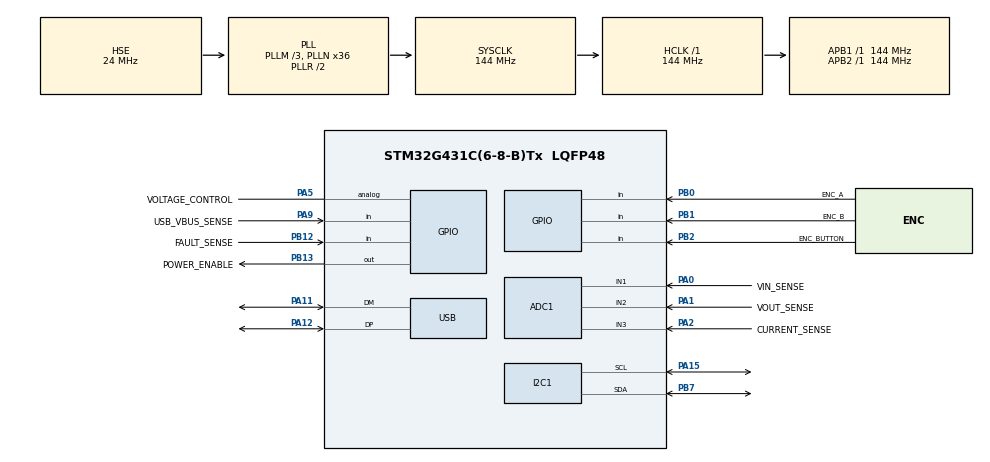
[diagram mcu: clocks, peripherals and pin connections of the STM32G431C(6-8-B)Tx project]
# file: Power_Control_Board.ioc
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ADC1.Channel-0\#ChannelRegularConversion=ADC_CHANNEL_1
ADC1.ClockPrescaler=ADC_CLOCK_ASYNC_DIV4
ADC1.NbrOfConversionFlag=1
ADC1.OffsetNumber-0\#ChannelRegularConversion=ADC_OFFSET_NONE
ADC1.Rank-0\#ChannelRegularConversion=1
ADC1.SamplingTime-0\#ChannelRegularConversion=ADC_SAMPLETIME_640CYCLES_5
ADC1.master=1
I2C1.Timing=0x60715075
Mcu.Family=STM32G4
Mcu.Name=STM32G431C(6-8-B)Tx
Mcu.Package=LQFP48
NVIC.PriorityGroup=NVIC_PRIORITYGROUP_4
NVIC.USB_LP_IRQn=true\:0\:0\:false\:false\:true\:false\:true\:true
PA0.GPIO_Label=VIN_SENSE
PA0.Mode=IN1-Single-Ended
PA0.Signal=ADC1_IN1
PA1.GPIO_Label=VOUT_SENSE
PA1.Mode=IN2-Single-Ended
PA1.Signal=ADC1_IN2
PA11.Mode=Device
PA11.Signal=USB_DM
PA12.Mode=Device
PA12.Signal=USB_DP
PA13.Mode=Serial_Wire
PA13.Signal=SYS_JTMS-SWDIO
PA14.Mode=Serial_Wire
PA14.Signal=SYS_JTCK-SWCLK
PA15.Mode=I2C
PA15.Signal=I2C1_SCL
PA2.GPIO_Label=CURRENT_SENSE
PA2.Mode=IN3-Single-Ended
PA2.Signal=ADC1_IN3
PA5.GPIO_Label=VOLTAGE_CONTROL
PA5.Signal=GPIO_Analog
PA9.GPIO_Label=USB_VBUS_SENSE
PA9.Signal=GPIO_Input
PB0.GPIO_Label=ENC_A
PB0.Signal=GPIO_Input
PB1.GPIO_Label=ENC_B
PB1.Signal=GPIO_Input
PB12.GPIO_Label=FAULT_SENSE
PB12.Signal=GPIO_Input
PB13.GPIO_Label=POWER_ENABLE
PB13.Signal=GPIO_Output
PB2.GPIO_Label=ENC_BUTTON
PB2.Signal=GPIO_Input
PB7.Mode=I2C
PB7.Signal=I2C1_SDA
PF0-OSC_IN.Mode=HSE-External-Oscillator
PF0-OSC_IN.Signal=RCC_OSC_IN
PF1-OSC_OUT.Mode=HSE-External-Oscillator
PF1-OSC_OUT.Signal=RCC_OSC_OUT
ProjectManager.HeapSize=0x200
ProjectManager.StackSize=0x400
ProjectManager.TargetToolchain=CMake
RCC.ADC12Freq_Value=144000000
RCC.AHBFreq_Value=144000000
RCC.APB1Freq_Value=144000000
RCC.APB1TimFreq_Value=144000000
RCC.APB2Freq_Value=144000000
RCC.APB2TimFreq_Value=144000000
RCC.CortexFreq_Value=144000000
RCC.EXTERNAL_CLOCK_VALUE=12288000
RCC.HCLKFreq_Value=144000000
RCC.HSE_VALUE=24000000
RCC.HSI48_VALUE=48000000
RCC.HSI_VALUE=16000000
RCC.LSE_VALUE=32768
RCC.PLLM=RCC_PLLM_DIV3
RCC.PLLN=36
RCC.PLLQ=RCC_PLLQ_DIV6
RCC.PLLSourceVirtual=RCC_PLLSOURCE_HSE
RCC.SYSCLKFreq_VALUE=144000000
RCC.SYSCLKSource=RCC_SYSCLKSOURCE_PLLCLK
RCC.USBFreq_Value=48000000
RCC.VCOOutputFreq_Value=288000000
USB_DEVICE.CLASS_NAME_FS=CDC
USB_DEVICE.USBD_LPM_ENABLED=0
USB_DEVICE.USBD_SELF_POWERED=0
USB_DEVICE.VirtualMode=Cdc
USB_DEVICE.VirtualModeFS=Cdc_FS
VP_ADC1_Vref_Input.Mode=IN-Vrefint
VP_SYS_VS_DBSignals.Mode=DisableDeadBatterySignals
VP_USB_DEVICE_VS_USB_DEVICE_CDC_FS.Mode=CDC_FS
board=custom

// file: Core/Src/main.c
/* USER CODE BEGIN Header */
/**
  ******************************************************************************
  * @file           : main.c
  * @brief          : Main program body
  ******************************************************************************
  * @attention
  *
  * Copyright (c) 2026 STMicroelectronics.
  * All rights reserved.
  *
  * This software is licensed under terms that can be found in the LICENSE file
  * in the root directory of this software component.
  * If no LICENSE file comes with this software, it is provided AS-IS.
  *
  ******************************************************************************
  */
/* USER CODE END Header */
#include "main.h"
#include "adc.h"
#include "i2c.h"
#include "usb_device.h"
#include "gpio.h"

/* USER CODE BEGIN Includes */
#include "oled.h"
#include "measurements.h"
#include "telemetry.h"
#include <stdio.h>
/* USER CODE END Includes */

/* USER CODE BEGIN PV */
static Measurements measurements;
static uint32_t last_display_ms = 0;

/* USER CODE END PV */

void SystemClock_Config(void);

int main(void)
{

  /* MCU Configuration--------------------------------------------------------*/

  /* Reset of all peripherals, Initializes the Flash interface and the Systick. */
  HAL_Init();

  /* Configure the system clock */
  SystemClock_Config();

  /* Initialize all configured peripherals */
  MX_GPIO_Init();
  MX_ADC1_Init();
  MX_I2C1_Init();
  MX_USB_Device_Init();
  /* USER CODE BEGIN 2 */
  HAL_Delay(30);  // Allow the OLED to power up

  OLED_Init();
  OLED_NewFrame();

  if (!Measurements_Init()) {
    Error_Handler();
  }

  OLED_PrintASCIIString(
      0, 0,
      "Power Controller",
      &afont8x6,
      OLED_COLOR_NORMAL
  );

  OLED_PrintASCIIString(
      0, 16,
      "Starting...",
      &afont8x6,
      OLED_COLOR_NORMAL
  );

  OLED_ShowFrame();

  /* USER CODE END 2 */

  /* Infinite loop */
  while (1)
  {

    /* USER CODE BEGIN 3 */
    uint32_t now = HAL_GetTick();

    if ((uint32_t)(now - last_display_ms) >= 250U) {
      last_display_ms = now;

      bool valid = Measurements_Read(&measurements);

      if (valid) {
        (void)Telemetry_Send(now, &measurements);
      }

      char line[32];

      OLED_NewFrame();

      OLED_PrintASCIIString(
          0, 0, "Power Controller",
          &afont8x6, OLED_COLOR_NORMAL
      );

      if (valid) {
        snprintf(line, sizeof(line), "Vin : %lu.%03lu V",
                 (unsigned long)(measurements.vin_mv / 1000U),
                 (unsigned long)(measurements.vin_mv % 1000U));

        OLED_PrintASCIIString(
            0, 16, line, &afont8x6, OLED_COLOR_NORMAL
        );

        snprintf(line, sizeof(line), "Vout: %lu.%03lu V",
                 (unsigned long)(measurements.vout_mv / 1000U),
                 (unsigned long)(measurements.vout_mv % 1000U));

        OLED_PrintASCIIString(
            0, 32, line, &afont8x6, OLED_COLOR_NORMAL
        );

        snprintf(line, sizeof(line), "Iout: %lu.%03lu A",
                 (unsigned long)(measurements.current_ma / 1000U),
                 (unsigned long)(measurements.current_ma % 1000U));

        OLED_PrintASCIIString(
            0, 48, line, &afont8x6, OLED_COLOR_NORMAL
        );
      } else {
        OLED_PrintASCIIString(
            0, 24, "ADC read error",
            &afont8x6, OLED_COLOR_NORMAL
        );
      }

      OLED_ShowFrame();
    }
  }
  /* USER CODE END 3 */
}

void SystemClock_Config(void)
{
  RCC_OscInitTypeDef RCC_OscInitStruct = {0};
  RCC_ClkInitTypeDef RCC_ClkInitStruct = {0};

  /** Configure the main internal regulator output voltage
  */
  HAL_PWREx_ControlVoltageScaling(PWR_REGULATOR_VOLTAGE_SCALE1);

  /** Initializes the RCC Oscillators according to the specified parameters
  * in the RCC_OscInitTypeDef structure.
  */
  RCC_OscInitStruct.OscillatorType = RCC_OSCILLATORTYPE_HSE;
  RCC_OscInitStruct.HSEState = RCC_HSE_ON;
  RCC_OscInitStruct.PLL.PLLState = RCC_PLL_ON;
  RCC_OscInitStruct.PLL.PLLSource = RCC_PLLSOURCE_HSE;
  RCC_OscInitStruct.PLL.PLLM = RCC_PLLM_DIV3;
  RCC_OscInitStruct.PLL.PLLN = 36;
  RCC_OscInitStruct.PLL.PLLP = RCC_PLLP_DIV2;
  RCC_OscInitStruct.PLL.PLLQ = RCC_PLLQ_DIV6;
  RCC_OscInitStruct.PLL.PLLR = RCC_PLLR_DIV2;
  if (HAL_RCC_OscConfig(&RCC_OscInitStruct) != HAL_OK)
  {
    Error_Handler();
  }

  /** Initializes the CPU, AHB and APB buses clocks
  */
  RCC_ClkInitStruct.ClockType = RCC_CLOCKTYPE_HCLK|RCC_CLOCKTYPE_SYSCLK
                              |RCC_CLOCKTYPE_PCLK1|RCC_CLOCKTYPE_PCLK2;
  RCC_ClkInitStruct.SYSCLKSource = RCC_SYSCLKSOURCE_PLLCLK;
  RCC_ClkInitStruct.AHBCLKDivider = RCC_SYSCLK_DIV1;
  RCC_ClkInitStruct.APB1CLKDivider = RCC_HCLK_DIV1;
  RCC_ClkInitStruct.APB2CLKDivider = RCC_HCLK_DIV1;

  if (HAL_RCC_ClockConfig(&RCC_ClkInitStruct, FLASH_LATENCY_4) != HAL_OK)
  {
    Error_Handler();
  }
}

void Error_Handler(void)
{
  __disable_irq();
  while (1)
  {
  }
}
